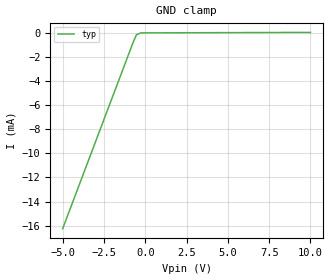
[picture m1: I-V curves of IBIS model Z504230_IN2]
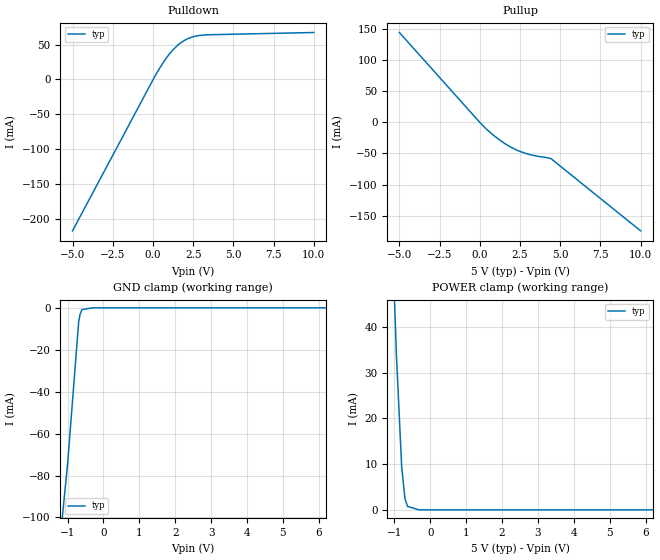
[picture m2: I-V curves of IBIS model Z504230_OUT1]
| YOU ARE ONLY AUTHORIZED TO USE THIS SOFTWARE
| ACCORDING TO LICENSOR'S LICENSE RESTRICTIONS.
[IBIS Ver] 3.1
[File Name] mc74hc4049d.ibs
[File Rev] 2.0
[Source] Measured and created by ICX Technology
[Date] Friday 7/14/00 9:08:09 AM
[Copyright]
| (C) COPYRIGHT 1993-2000
| MENTOR GRAPHICS CORPORATION
| ICX STANDARD LIBRARY, ICX PROJECT MODELING,
| ICX CUSTOM MODELING, ICX VENDOR MODEL
| ALL RIGHTS RESERVED.
| THE FOLLOWING ARE TRADEMARKS OR SERVICE MARKS OF
| MENTOR GRAPHICS CORPORATION:ICX (R), ICX STANDARD
| LIBRARY(R), ICX PROJECT MODELING(R), ICX CUSTOM
| MODELING(R), qualityIBIS(TM), MODELVIEWER(TM),
| AND MODELEDITOR(TM)
| ALL COPIES OF SOFTWARE, INCLUDING BUT NOT LIMITED TO
| ANY MODIFICATIONS, ENHANCEMENTS OR DERIVATIVE WORKS,
| MUST CONTAIN ALL MENTOR GRAPHICS CORPORATION'S
| NOTICES AND LEGENDS, INCLUDING THOSE EMBEDDED IN
| SOFTWARE AND THOSE AFFIXED TO SOFTWARE MEDIUM
| AND CONTAINER, AS RECEIVED FROM MENTOR GRAPHICS
| CORPORATION.
|  ZAP Model Builder 2.7
[Component] MC74HC4049D
[Manufacturer] OnSemiconductor
[Package]
| variable   typ   min   max
R_pkg  .156ohms NA NA
L_pkg  3.148nH NA NA
C_pkg  .388pF NA NA
[Pin] signal_name  model_name  R_pin  L_pin C_pin
1 VCC POWER .162 3.798n .418p
2 Y Z504230_OUT1 .158 3.358n .398p
3 A Z504230_IN2 .154 2.928n .378p
4 Y Z504230_OUT1 .15 2.508n .358p
5 A Z504230_IN2 .15 2.508n .358p
6 Y Z504230_OUT1 .154 2.928n .378p
7 A Z504230_IN2 .158 3.358n .398p
8 GROUND GND .162 3.798n .418p
9 A Z504230_IN2 .162 3.798n .418p
10 Y Z504230_OUT1 .158 3.358n .398p
11 A Z504230_IN2 .154 2.928n .378p
12 Y Z504230_OUT1 .15 2.508n .358p
13 NC NC .15 2.508n .358p
14 A Z504230_IN2 .154 2.928n .378p
15 Y Z504230_OUT1 .158 3.358n .398p
16 NC NC .162 3.798n .418p
| Models and submodels in the file (2): Z504230_IN2 (Input), Z504230_OUT1 (Output)
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| (C) COPYRIGHT 1993-2000
| MENTOR GRAPHICS CORPORATION
| ICX STANDARD LIBRARY, ICX PROJECT MODELING,
| ICX CUSTOM MODELING, ICX VENDOR MODEL
| ALL RIGHTS RESERVED.
| THE FOLLOWING ARE TRADEMARKS OR SERVICE MARKS OF
| MENTOR GRAPHICS CORPORATION:ICX (R), ICX STANDARD
| LIBRARY(R), ICX PROJECT MODELING(R), ICX CUSTOM
| MODELING(R), qualityIBIS(TM), MODELVIEWER(TM),
| AND MODELEDITOR(TM)
| ALL COPIES OF SOFTWARE, INCLUDING BUT NOT LIMITED TO
| ANY MODIFICATIONS, ENHANCEMENTS OR DERIVATIVE WORKS,
| MUST CONTAIN ALL MENTOR GRAPHICS CORPORATION'S
| NOTICES AND LEGENDS, INCLUDING THOSE EMBEDDED IN
| SOFTWARE AND THOSE AFFIXED TO SOFTWARE MEDIUM
| AND CONTAINER, AS RECEIVED FROM MENTOR GRAPHICS
| CORPORATION.
| Model Application Version 1.89 2/18/99.
[Model] Z504230_IN2
Model_type Input
Vinl = 1.000V
Vinh = 3.500V
C_comp 4.000pF NA NA
| variable typ   min   max
[Voltage Range] 5.000V NA NA
[GND Clamp Reference] 0.000V NA NA
[POWER Clamp Reference] 5.000V NA NA
[GND Clamp]
-5V       -16.24mA   NA         NA
-722.7mV  -765.9uA   NA         NA
-530.7mV  -176.6uA   NA         NA
-265.4mV  -26.7uA    NA         NA
10V       13.45uA    NA         NA
[POWER Clamp]
-5V       0A         NA         NA
10V       0A         NA         NA
| (C) COPYRIGHT 1993-2000
| MENTOR GRAPHICS CORPORATION
| ICX STANDARD LIBRARY, ICX PROJECT MODELING,
| ICX CUSTOM MODELING, ICX VENDOR MODEL
| ALL RIGHTS RESERVED.
| THE FOLLOWING ARE TRADEMARKS OR SERVICE MARKS OF
| MENTOR GRAPHICS CORPORATION:ICX (R), ICX STANDARD
| LIBRARY(R), ICX PROJECT MODELING(R), ICX CUSTOM
| MODELING(R), qualityIBIS(TM), MODELVIEWER(TM),
| AND MODELEDITOR(TM)
| ALL COPIES OF SOFTWARE, INCLUDING BUT NOT LIMITED TO
| ANY MODIFICATIONS, ENHANCEMENTS OR DERIVATIVE WORKS,
| MUST CONTAIN ALL MENTOR GRAPHICS CORPORATION'S
| NOTICES AND LEGENDS, INCLUDING THOSE EMBEDDED IN
| SOFTWARE AND THOSE AFFIXED TO SOFTWARE MEDIUM
| AND CONTAINER, AS RECEIVED FROM MENTOR GRAPHICS
| CORPORATION.
| Model Application Version 1.89 2/18/99.
[Model] Z504230_OUT1
Model_type Output
Vref=0.000V
Rref=500.0Mohms
Cref=50.00pF
Vmeas=2.500V
C_comp 8.000pF NA NA
| variable typ   min   max
[Voltage Range] 5.000V NA NA
[POWER Clamp Reference] 5.000V NA NA
[Pullup Reference] 5.000V NA NA
[Pulldown Reference] 0.000V NA NA
[GND Clamp Reference] 0.000V NA NA
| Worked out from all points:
|   slope of the pulldown table from 0 to 0.75 V, typ, clamps not added: 26.2 ohm
|   slope of the pullup table from 0 to 0.75 V, typ, clamps not added: 40.8 ohm
|   GND clamp passes 1 mA (typ) near -0.60 V on its own axis
|   POWER clamp passes 1 mA (typ) near -0.65 V on its own axis
[GND Clamp]
-5V       -657.3mA   NA         NA
-1.177V   -105mA     NA         NA
-999mV    -74.12mA   NA         NA
-692.4mV  -6.793mA   NA         NA
-654.3mV  -3.191mA   NA         NA
-600mV    -857.9uA   NA         NA
-300mV    0A         NA         NA
10V       0A         NA         NA
[Pulldown]
-5V       -216.8mA   NA         NA
102.5mV   3.737mA    NA         NA
696.4mV   26.21mA    NA         NA
986.7mV   35.41mA    NA         NA
1.509V    48.41mA    NA         NA
2.138V    58.07mA    NA         NA
2.553V    61.4mA     NA         NA
3.034V    63.3mA     NA         NA
10V       67.2mA     NA         NA
[Pullup]
-5V       144.3mA    NA         NA
21mV      -717.1uA   NA         NA
820mV     -20.1mA    NA         NA
1.66V     -35.81mA   NA         NA
2.485V    -46.57mA   NA         NA
3.316V    -53mA      NA         NA
4.413V    -58mA      NA         NA
10V       -174.3mA   NA         NA
[POWER Clamp]
-5V       1.188A     NA         NA
-1.104V   69.23mA    NA         NA
-947mV    34mA       NA         NA
-800mV    9.435mA    NA         NA
-708mV    2.413mA    NA         NA
-635mV    750.9uA    NA         NA
-317.5mV  0A         NA         NA
10V       0A         NA         NA
[Ramp]
| variable typ min max
dV/dt_r 2.778/1.442n NA NA
dV/dt_f 2.778/1.378n NA NA
R_load = 500.0Ohms
